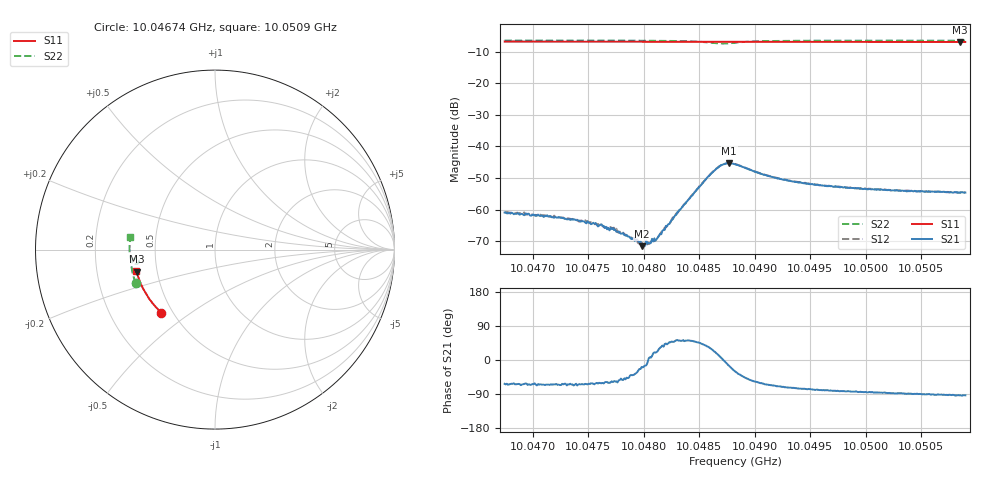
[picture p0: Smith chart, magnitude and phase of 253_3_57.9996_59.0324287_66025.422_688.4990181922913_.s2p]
#  HZ  S  RI  R  50.00
! Rohde & Schwarz Vector Network Analyzer
! Rohde-Schwarz,ZNB20-2Port,1311601062101988,3.16
! Created: UTC 3/21/2024, 1:01:40 AM
! freq[Hz]  re:S11  im:S11  re:S21  im:S21  re:S12  im:S12  re:S22  im:S22
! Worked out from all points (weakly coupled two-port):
!   401 points, 10.04674 GHz to 10.0509 GHz, reference 50 ohm
!   highest |S21| = -45.32 dB at 10.04877 GHz (marker M1); lowest = -71.6 dB at 10.04798 GHz (marker M2)
!   lowest |S11| = -6.9 dB at 10.05085 GHz (marker M3), VSWR 2.66, Z = 19.1 - j5.9 ohm
!   |S11| at or under -10 dB: nowhere
!   |S22| runs from -7.4 to -6.4 dB; largest |S21 - S12| = 0.00039
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1.0046745e10  -0.299 -0.3507  0.00041 -0.0008  0.000471 -0.000777  -0.4415 -0.1875
1.0047119e10  -0.3169 -0.3335  0.000329 -0.000711  0.000385 -0.000695  -0.45 -0.1637
1.0047441e10  -0.3316 -0.318  0.00029 -0.000587  0.000323 -0.000586  -0.4564 -0.1422
1.0047669e10  -0.3415 -0.3066  0.000254 -0.000415  0.000302 -0.000412  -0.4603 -0.1263
1.0047721e10  -0.3437 -0.3039  0.000266 -0.000427  0.000303 -0.000414  -0.4609 -0.1226
1.0047908e10  -0.3515 -0.2942  0.000271 -0.000221  0.000274 -0.000202  -0.4634 -0.1087
1.0047949e10  -0.3531 -0.2921  0.000278 -0.00015  0.000272 -0.000112  -0.4638 -0.1056
1.004798e10  -0.3545 -0.2904  0.000249 -8.28e-05  0.00028 -0.000105  -0.4642 -0.1032
1.0048001e10  -0.3552 -0.2893  0.000255 -7.72e-05  0.00029 -4.14e-05  -0.4643 -0.1015
1.0048032e10  -0.3565 -0.2877  0.000287 -3.61e-05  0.000279 1.74e-05  -0.4645 -0.099
1.0048074e10  -0.3581 -0.2855  0.000337 6.31e-05  0.000307 8.72e-05  -0.4648 -0.0957
1.0048136e10  -0.3607 -0.2824  0.000335 0.000188  0.000324 0.000208  -0.465 -0.0904
1.0048323e10  -0.3677 -0.2722  0.000619 0.000772  0.000587 0.000799  -0.4633 -0.0731
1.0048593e10  -0.3775 -0.2572  0.00296 0.00185  0.00289 0.00203  -0.4412 -0.0488
1.0048697e10  -0.3809 -0.2515  0.00502 0.000518  0.00497 0.000828  -0.4245 -0.058
1.004877e10  -0.3832 -0.2476  0.00521 -0.0015  0.00528 -0.00119  -0.4259 -0.0729
1.0048821e10  -0.3851 -0.2449  0.00453 -0.00261  0.00475 -0.00231  -0.434 -0.0792
1.0049154e10  -0.3962 -0.2258  0.00129 -0.00304  0.00147 -0.00298  -0.4677 -0.0571
1.0049517e10  -0.4072 -0.2045  0.000537 -0.00248  0.000682 -0.00244  -0.4746 -0.0267
1.0050213e10  -0.4243 -0.1622  0.000107 -0.00204  0.000228 -0.00204  -0.4755 0.0233
1.0050846e10  -0.4366 -0.1226  -0.000106 -0.00185  2.95e-05 -0.00186  -0.4713 0.0663
1.0050898e10  -0.4376 -0.1192  -0.000104 -0.00185  -6.55e-06 -0.00187  -0.4709 0.0696
